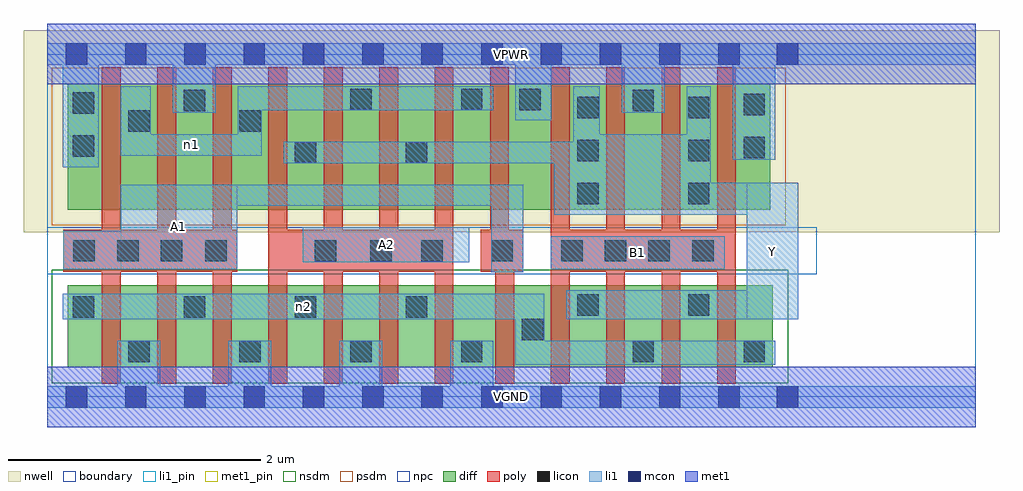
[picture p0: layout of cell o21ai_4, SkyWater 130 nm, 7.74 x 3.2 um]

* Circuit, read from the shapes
.subckt o21ai_4 A1 A2 B1 VGND VPWR Y n1 n2
XM1 VGND A1 n2 VSUBS sky130_fd_pr__nfet_01v8 w=0.65 l=0.15 m=4
XM2 n2 A2 VGND VSUBS sky130_fd_pr__nfet_01v8 w=0.65 l=0.15 m=4
XM3 Y B1 n2 VSUBS sky130_fd_pr__nfet_01v8 w=0.65 l=0.15 m=4
XM4 n1 A1 VPWR n3 sky130_fd_pr__pfet_01v8 w=1 l=0.15 m=4
XM5 Y A2 n1 n3 sky130_fd_pr__pfet_01v8 w=1 l=0.15 m=4
XM6 Y B1 VPWR n3 sky130_fd_pr__pfet_01v8 w=1 l=0.15 m=4
.ends

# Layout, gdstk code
import gdstk
lib = gdstk.Library(unit=1e-6, precision=1e-09)
def R(c, l, rs):  # rectangles x0, y0, x1, y1
    for r in rs: c.add(gdstk.rectangle(r[:2], r[2:], *l))
def A(c, l, x, y, w, h, nx, ny, dx, dy):  # array of equal rectangles
    R(c, l, [(x+i*dx, y+j*dy, x+i*dx+w, y+j*dy+h) for i in range(nx) for j in range(ny)])
nwell = (64, 20)
diff = (65, 20)
poly = (66, 20)
licon = (66, 44)
li1_pin = (67, 16)
li1 = (67, 20)
mcon = (67, 44)
met1_pin = (68, 16)
met1 = (68, 20)
nsdm = (93, 44)
psdm = (94, 20)
npc = (95, 20)
boundary = (235, 4)

o21ai_4 = lib.new_cell('o21ai_4')
R(o21ai_4, nwell, [(-0.19,1.305,7.55,2.91), (0,1.305,7.36,2.91)])
R(o21ai_4, diff, [(0.16,0.235,5.75,0.885), (0.16,1.485,5.73,2.485)])
A(o21ai_4, poly, 0.43, 0.105, 0.15, 2.51, 7, 1, 0.44, 0)
A(o21ai_4, poly, 3.99, 0.105, 0.15, 2.51, 4, 1, 0.44, 0)
R(o21ai_4, poly, [(3.55,0.105,3.7,1.325), (0.125,0.995,1.505,1.325), (1.75,0.995,3.22,1.325), (3.435,0.995,3.775,1.325), (3.51,0.995,3.66,2.615), (3.99,0.995,5.46,1.325)])
A(o21ai_4, licon, 0.64, 0.275, 0.17, 0.17, 4, 1, 0.88, 0)
A(o21ai_4, licon, 0.2, 0.63, 0.17, 0.17, 4, 1, 0.88, 0)
A(o21ai_4, licon, 2.965, 1.075, 0.17, 0.17, 3, 1, 0.555, 0)
A(o21ai_4, licon, 4.2, 1.53, 0.17, 0.17, 1, 3, 0, 0.34)
A(o21ai_4, licon, 5.08, 1.53, 0.17, 0.17, 1, 3, 0, 0.34)
R(o21ai_4, licon, [(4.64,0.275,4.81,0.445), (5.52,0.275,5.69,0.445), (3.76,0.45,3.93,0.62), (4.2,0.645,4.37,0.815), (5.08,0.645,5.25,0.815), (0.205,1.075,0.375,1.245), (0.555,1.075,0.725,1.245), (0.9,1.075,1.07,1.245), (1.25,1.075,1.42,1.245), (2.12,1.075,2.29,1.245), (2.56,1.075,2.73,1.245), (4.42,1.075,4.59,1.245), (4.765,1.075,4.935,1.245), (5.115,1.075,5.285,1.245), (1.96,1.855,2.13,2.025), (2.84,1.855,3.01,2.025), (5.52,1.895,5.69,2.065), (0.2,1.905,0.37,2.075), (0.64,2.105,0.81,2.275), (1.52,2.105,1.69,2.275), (5.52,2.235,5.69,2.405), (0.2,2.245,0.37,2.415), (1.08,2.265,1.25,2.435), (4.64,2.265,4.81,2.435), (2.4,2.275,2.57,2.445), (3.28,2.275,3.45,2.445), (3.74,2.275,3.91,2.445)])
R(o21ai_4, li1_pin, [(5.545,0.615,5.955,1.7), (0.58,1.015,1.505,1.685), (3.99,1.015,5.37,1.275), (2.025,1.07,3.345,1.345)])
A(o21ai_4, li1, 0.555, -0.085, 0.34, 0.53, 4, 1, 0.88, 0)
R(o21ai_4, li1, [(0,-0.085,7.36,0.085), (3.71,0.255,5.77,0.445), (3.71,0.255,3.94,0.82), (0.12,0.615,3.94,0.82), (4.115,0.615,5.955,0.845), (5.545,0.615,5.955,1.7), (3.52,0.99,3.775,1.685), (0.125,1.015,1.505,1.32), (0.58,1.015,1.505,1.685), (3.99,1.015,5.37,1.275), (2.025,1.07,3.345,1.345), (4.02,1.445,5.955,1.7), (4.02,1.445,5.26,1.855), (4.17,1.445,5.07,2.085), (4.17,1.445,4.38,2.465), (5.07,1.445,5.26,2.465), (0.58,1.515,3.775,1.685), (0.12,1.82,0.405,2.805), (1.875,1.855,5.26,2.025), (5.435,1.88,5.77,2.805), (0.58,1.915,1.7,2.085), (0.58,1.915,0.82,2.465), (1.51,1.915,1.7,2.465), (3.71,2.195,3.995,2.805), (0.995,2.255,1.335,2.805), (4.555,2.255,4.895,2.805), (1.51,2.275,3.535,2.465), (0,2.635,7.36,2.805)])
A(o21ai_4, mcon, 0.145, -0.085, 0.17, 0.17, 7, 2, 0.47, 2.72)
A(o21ai_4, mcon, 3.44, -0.085, 0.17, 0.17, 5, 2, 0.47, 2.72)
R(o21ai_4, mcon, [(5.785,-0.085,5.955,0.085), (5.785,2.635,5.955,2.805)])
R(o21ai_4, met1_pin, [(0,-0.24,7.36,0.24), (0,2.48,7.36,2.96)])
R(o21ai_4, met1, [(0,-0.24,7.36,0.24), (0,2.48,7.36,2.96)])
R(o21ai_4, nsdm, [(0.035,0.11,5.875,1.01)])
R(o21ai_4, psdm, [(0.035,1.36,5.855,2.61)])
R(o21ai_4, npc, [(0,0.975,6.1,1.345)])
R(o21ai_4, boundary, [(0,0,7.36,2.72)])
o21ai_4.add(gdstk.Label('A1', (1.042,1.35), layer=67, texttype=5))
o21ai_4.add(gdstk.Label('A2', (2.685,1.207), layer=67, texttype=5))
o21ai_4.add(gdstk.Label('B1', (4.68,1.145), layer=67, texttype=5))
o21ai_4.add(gdstk.Label('Y', (5.75,1.157), layer=67, texttype=5))
o21ai_4.add(gdstk.Label('n2', (2.03,0.717), layer=67, texttype=5))
o21ai_4.add(gdstk.Label('n1', (1.14,2), layer=67, texttype=5))
o21ai_4.add(gdstk.Label('VPWR', (3.68,2.72), layer=68, texttype=5))
o21ai_4.add(gdstk.Label('VGND', (3.68,0), layer=68, texttype=5))
o21ai_4.add(gdstk.Label('A1', (1.042,1.35), layer=67, texttype=16))
o21ai_4.add(gdstk.Label('A2', (2.685,1.207), layer=67, texttype=16))
o21ai_4.add(gdstk.Label('B1', (4.68,1.145), layer=67, texttype=16))
o21ai_4.add(gdstk.Label('Y', (5.75,1.157), layer=67, texttype=16))
o21ai_4.add(gdstk.Label('VPWR', (3.68,2.72), layer=68, texttype=16))
o21ai_4.add(gdstk.Label('VGND', (3.68,0), layer=68, texttype=16))

lib.write_gds('o21ai_4.gds')
